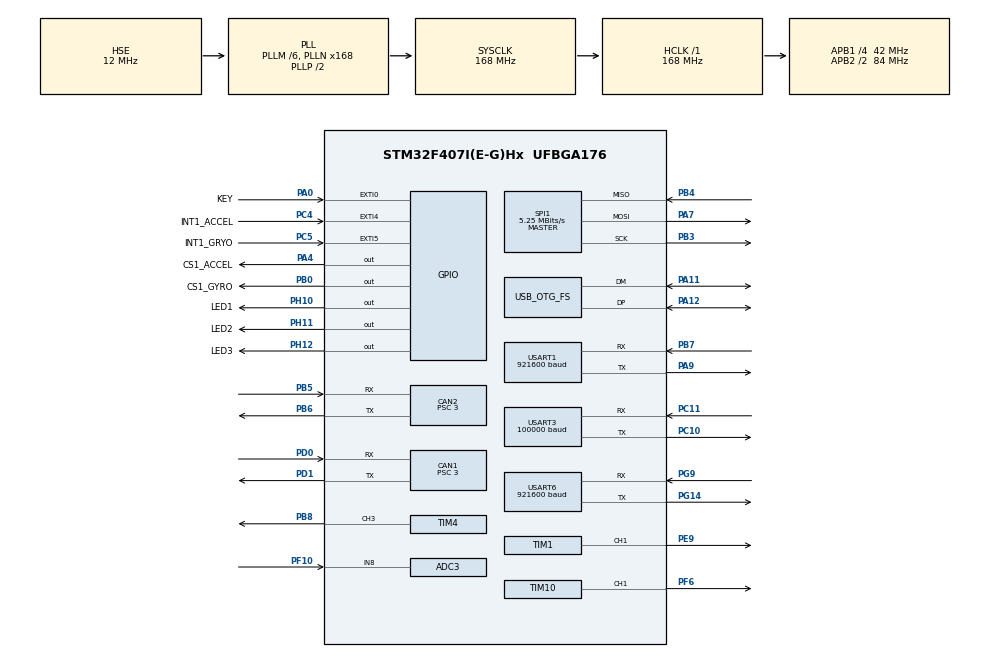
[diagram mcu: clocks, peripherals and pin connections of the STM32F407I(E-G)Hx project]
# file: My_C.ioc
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ADC1.Channel-0\#ChannelRegularConversion=ADC_CHANNEL_VREFINT
ADC1.ClockPrescaler=ADC_CLOCK_SYNC_PCLK_DIV4
ADC1.NbrOfConversionFlag=1
ADC1.Rank-0\#ChannelRegularConversion=1
ADC1.SamplingTime-0\#ChannelRegularConversion=ADC_SAMPLETIME_3CYCLES
ADC1.master=1
ADC3.Channel-0\#ChannelRegularConversion=ADC_CHANNEL_8
ADC3.ClockPrescaler=ADC_CLOCK_SYNC_PCLK_DIV4
ADC3.NbrOfConversionFlag=1
ADC3.Rank-0\#ChannelRegularConversion=1
ADC3.SamplingTime-0\#ChannelRegularConversion=ADC_SAMPLETIME_3CYCLES
CAN1.ABOM=ENABLE
CAN1.AWUM=ENABLE
CAN1.BS1=CAN_BS1_10TQ
CAN1.BS2=CAN_BS2_3TQ
CAN1.CalculateBaudRate=1000000
CAN1.CalculateTimeBit=1000
CAN1.CalculateTimeQuantum=71.42857142857143
CAN1.Prescaler=3
CAN1.TXFP=ENABLE
CAN2.ABOM=ENABLE
CAN2.AWUM=ENABLE
CAN2.BS1=CAN_BS1_10TQ
CAN2.BS2=CAN_BS2_3TQ
CAN2.CalculateBaudRate=1000000
CAN2.CalculateTimeBit=1000
CAN2.CalculateTimeQuantum=71.42857142857143
CAN2.Prescaler=3
CAN2.TXFP=ENABLE
Dma.Request0=SPI1_RX
Dma.Request1=SPI1_TX
Dma.Request2=USART3_RX
Dma.Request3=USART1_RX
Dma.Request4=USART1_TX
Dma.Request5=USART6_RX
Dma.Request6=USART6_TX
Dma.SPI1_RX.0.Direction=DMA_PERIPH_TO_MEMORY
Dma.SPI1_RX.0.FIFOMode=DMA_FIFOMODE_DISABLE
Dma.SPI1_RX.0.Instance=DMA2_Stream0
Dma.SPI1_RX.0.MemDataAlignment=DMA_MDATAALIGN_BYTE
Dma.SPI1_RX.0.MemInc=DMA_MINC_ENABLE
Dma.SPI1_RX.0.Mode=DMA_NORMAL
Dma.SPI1_RX.0.PeriphDataAlignment=DMA_PDATAALIGN_BYTE
Dma.SPI1_RX.0.PeriphInc=DMA_PINC_DISABLE
Dma.SPI1_RX.0.Priority=DMA_PRIORITY_VERY_HIGH
Dma.SPI1_TX.1.Direction=DMA_MEMORY_TO_PERIPH
Dma.SPI1_TX.1.FIFOMode=DMA_FIFOMODE_DISABLE
Dma.SPI1_TX.1.Instance=DMA2_Stream3
Dma.SPI1_TX.1.MemDataAlignment=DMA_MDATAALIGN_BYTE
Dma.SPI1_TX.1.MemInc=DMA_MINC_ENABLE
Dma.SPI1_TX.1.Mode=DMA_NORMAL
Dma.SPI1_TX.1.PeriphDataAlignment=DMA_PDATAALIGN_BYTE
Dma.SPI1_TX.1.PeriphInc=DMA_PINC_DISABLE
Dma.SPI1_TX.1.Priority=DMA_PRIORITY_HIGH
Dma.USART1_RX.3.Direction=DMA_PERIPH_TO_MEMORY
Dma.USART1_RX.3.FIFOMode=DMA_FIFOMODE_DISABLE
Dma.USART1_RX.3.Instance=DMA2_Stream2
Dma.USART1_RX.3.MemDataAlignment=DMA_MDATAALIGN_BYTE
Dma.USART1_RX.3.MemInc=DMA_MINC_ENABLE
Dma.USART1_RX.3.Mode=DMA_CIRCULAR
Dma.USART1_RX.3.PeriphDataAlignment=DMA_PDATAALIGN_BYTE
Dma.USART1_RX.3.PeriphInc=DMA_PINC_DISABLE
Dma.USART1_RX.3.Priority=DMA_PRIORITY_HIGH
Dma.USART1_TX.4.Direction=DMA_MEMORY_TO_PERIPH
Dma.USART1_TX.4.FIFOMode=DMA_FIFOMODE_DISABLE
Dma.USART1_TX.4.Instance=DMA2_Stream7
Dma.USART1_TX.4.MemDataAlignment=DMA_MDATAALIGN_BYTE
Dma.USART1_TX.4.MemInc=DMA_MINC_ENABLE
Dma.USART1_TX.4.Mode=DMA_NORMAL
Dma.USART1_TX.4.PeriphDataAlignment=DMA_PDATAALIGN_BYTE
Dma.USART1_TX.4.PeriphInc=DMA_PINC_DISABLE
Dma.USART1_TX.4.Priority=DMA_PRIORITY_LOW
Dma.USART3_RX.2.Direction=DMA_PERIPH_TO_MEMORY
Dma.USART3_RX.2.FIFOMode=DMA_FIFOMODE_DISABLE
Dma.USART3_RX.2.Instance=DMA1_Stream1
Dma.USART3_RX.2.MemDataAlignment=DMA_MDATAALIGN_BYTE
Dma.USART3_RX.2.MemInc=DMA_MINC_ENABLE
Dma.USART3_RX.2.Mode=DMA_CIRCULAR
Dma.USART3_RX.2.PeriphDataAlignment=DMA_PDATAALIGN_BYTE
Dma.USART3_RX.2.PeriphInc=DMA_PINC_DISABLE
Dma.USART3_RX.2.Priority=DMA_PRIORITY_HIGH
Dma.USART6_RX.5.Direction=DMA_PERIPH_TO_MEMORY
Dma.USART6_RX.5.FIFOMode=DMA_FIFOMODE_DISABLE
Dma.USART6_RX.5.Instance=DMA2_Stream1
Dma.USART6_RX.5.MemDataAlignment=DMA_MDATAALIGN_BYTE
Dma.USART6_RX.5.MemInc=DMA_MINC_ENABLE
Dma.USART6_RX.5.Mode=DMA_CIRCULAR
Dma.USART6_RX.5.PeriphDataAlignment=DMA_PDATAALIGN_BYTE
Dma.USART6_RX.5.PeriphInc=DMA_PINC_DISABLE
Dma.USART6_RX.5.Priority=DMA_PRIORITY_HIGH
Dma.USART6_TX.6.Direction=DMA_MEMORY_TO_PERIPH
Dma.USART6_TX.6.FIFOMode=DMA_FIFOMODE_DISABLE
Dma.USART6_TX.6.Instance=DMA2_Stream6
Dma.USART6_TX.6.MemDataAlignment=DMA_MDATAALIGN_BYTE
Dma.USART6_TX.6.MemInc=DMA_MINC_ENABLE
Dma.USART6_TX.6.Mode=DMA_NORMAL
Dma.USART6_TX.6.PeriphDataAlignment=DMA_PDATAALIGN_BYTE
Dma.USART6_TX.6.PeriphInc=DMA_PINC_DISABLE
Dma.USART6_TX.6.Priority=DMA_PRIORITY_LOW
FREERTOS.Tasks01=MonitorTask,3,512,StartMonitorTask,As weak,NULL,Dynamic,NULL,NULL;CommunityTask,2,512,StartCommunityTask,As weak,NULL,Dynamic,NULL,NULL;ControlTask,3,1024,StartControlTask,As weak,NULL,Dynamic,NULL,NULL;LedTask,1,128,StartLedTask,As weak,NULL,Dynamic,NULL,NULL;BMI088Task,0,256,StartBMI088Task,As weak,NULL,Dynamic,NULL,NULL
Mcu.Family=STM32F4
Mcu.Name=STM32F407I(E-G)Hx
Mcu.Package=UFBGA176
NVIC.CAN1_RX0_IRQn=true\:5\:0\:false\:false\:true\:true\:true\:true\:true
NVIC.CAN2_RX0_IRQn=true\:5\:0\:false\:false\:true\:true\:true\:true\:true
NVIC.DMA1_Stream1_IRQn=true\:5\:0\:false\:false\:true\:true\:false\:true\:true
NVIC.DMA2_Stream0_IRQn=true\:5\:0\:false\:false\:true\:true\:false\:true\:true
NVIC.DMA2_Stream1_IRQn=true\:5\:0\:false\:false\:true\:true\:false\:true\:true
NVIC.DMA2_Stream2_IRQn=true\:5\:0\:false\:false\:true\:true\:false\:true\:true
NVIC.DMA2_Stream3_IRQn=true\:5\:0\:false\:false\:true\:true\:false\:true\:true
NVIC.DMA2_Stream6_IRQn=true\:5\:0\:false\:false\:true\:true\:false\:true\:true
NVIC.DMA2_Stream7_IRQn=true\:5\:0\:false\:false\:true\:true\:false\:true\:true
NVIC.EXTI0_IRQn=true\:5\:0\:false\:false\:true\:true\:true\:true\:true
NVIC.EXTI4_IRQn=true\:5\:0\:false\:false\:true\:true\:true\:true\:true
NVIC.EXTI9_5_IRQn=true\:5\:0\:false\:false\:true\:true\:true\:true\:true
NVIC.OTG_FS_IRQn=true\:5\:0\:false\:false\:true\:true\:false\:true\:true
NVIC.PriorityGroup=NVIC_PRIORITYGROUP_4
NVIC.TIM2_IRQn=true\:15\:0\:false\:false\:true\:false\:false\:true\:true
NVIC.TIM4_IRQn=true\:5\:0\:false\:false\:true\:true\:true\:true\:true
NVIC.TimeBase=TIM2_IRQn
NVIC.TimeBaseIP=TIM2
NVIC.USART1_IRQn=true\:5\:0\:false\:false\:true\:true\:true\:true\:true
NVIC.USART3_IRQn=true\:5\:0\:false\:false\:true\:true\:true\:true\:true
NVIC.USART6_IRQn=true\:5\:0\:false\:false\:true\:true\:true\:true\:true
PA0-WKUP.GPIO_Label=KEY
PA0-WKUP.GPIO_ModeDefaultEXTI=GPIO_MODE_IT_FALLING
PA0-WKUP.GPIO_PuPd=GPIO_PULLUP
PA0-WKUP.Signal=GPXTI0
PA11.Mode=Device_Only
PA11.Signal=USB_OTG_FS_DM
PA12.Mode=Device_Only
PA12.Signal=USB_OTG_FS_DP
PA13.Mode=Serial_Wire
PA13.Signal=SYS_JTMS-SWDIO
PA14.Mode=Serial_Wire
PA14.Signal=SYS_JTCK-SWCLK
PA4.GPIO_Label=CS1_ACCEL
PA4.GPIO_PuPd=GPIO_PULLUP
PA4.GPIO_Speed=GPIO_SPEED_FREQ_HIGH
PA4.PinState=GPIO_PIN_SET
PA4.Signal=GPIO_Output
PA7.Mode=Full_Duplex_Master
PA7.Signal=SPI1_MOSI
PA9.Mode=Asynchronous
PA9.Signal=USART1_TX
PB0.GPIO_Label=CS1_GYRO
PB0.GPIO_PuPd=GPIO_PULLUP
PB0.GPIO_Speed=GPIO_SPEED_FREQ_HIGH
PB0.PinState=GPIO_PIN_SET
PB0.Signal=GPIO_Output
PB3.Mode=Full_Duplex_Master
PB3.Signal=SPI1_SCK
PB4.Mode=Full_Duplex_Master
PB4.Signal=SPI1_MISO
PB5.Mode=CAN_Activate
PB5.Signal=CAN2_RX
PB6.Mode=CAN_Activate
PB6.Signal=CAN2_TX
PB7.Mode=Asynchronous
PB7.Signal=USART1_RX
PB8.Signal=S_TIM4_CH3
PC10.Mode=Asynchronous
PC10.Signal=USART3_TX
PC11.Mode=Asynchronous
PC11.Signal=USART3_RX
PC4.GPIO_Label=INT1_ACCEL
PC4.GPIO_ModeDefaultEXTI=GPIO_MODE_IT_FALLING
PC4.GPIO_PuPd=GPIO_PULLUP
PC4.Signal=GPXTI4
PC5.GPIO_Label=INT1_GRYO
PC5.GPIO_ModeDefaultEXTI=GPIO_MODE_IT_FALLING
PC5.GPIO_PuPd=GPIO_PULLUP
PC5.Signal=GPXTI5
PD0.Mode=CAN_Activate
PD0.Signal=CAN1_RX
PD1.Mode=CAN_Activate
PD1.Signal=CAN1_TX
PE9.Signal=S_TIM1_CH1
PF10.Mode=IN8
PF10.Signal=ADC3_IN8
PF6.GPIO_PuPd=GPIO_PULLUP
PF6.GPIO_Speed=GPIO_SPEED_FREQ_HIGH
PF6.Signal=S_TIM10_CH1
PG14.Mode=Asynchronous
PG14.Signal=USART6_TX
PG9.Mode=Asynchronous
PG9.Signal=USART6_RX
PH0-OSC_IN.Mode=HSE-External-Oscillator
PH0-OSC_IN.Signal=RCC_OSC_IN
PH1-OSC_OUT.Mode=HSE-External-Oscillator
PH1-OSC_OUT.Signal=RCC_OSC_OUT
PH10.GPIO_Label=LED1
PH10.Signal=GPIO_Output
PH11.GPIO_Label=LED2
PH11.Signal=GPIO_Output
PH12.GPIO_Label=LED3
PH12.Signal=GPIO_Output
ProjectManager.HeapSize=0x200
ProjectManager.StackSize=0x400
ProjectManager.TargetToolchain=MDK-ARM V5.32
RCC.48MHZClocksFreq_Value=48000000
RCC.AHBFreq_Value=168000000
RCC.APB1CLKDivider=RCC_HCLK_DIV4
RCC.APB1Freq_Value=42000000
RCC.APB1TimFreq_Value=84000000
RCC.APB2CLKDivider=RCC_HCLK_DIV2
RCC.APB2Freq_Value=84000000
RCC.APB2TimFreq_Value=168000000
RCC.CortexFreq_Value=168000000
RCC.HCLKFreq_Value=168000000
RCC.HSE_VALUE=12000000
RCC.HSI_VALUE=16000000
RCC.LSE_VALUE=32768
RCC.PLLM=6
RCC.PLLN=168
RCC.PLLQ=7
RCC.SYSCLKFreq_VALUE=168000000
RCC.SYSCLKSource=RCC_SYSCLKSOURCE_PLLCLK
RCC.VCOOutputFreq_Value=336000000
SH.S_TIM10_CH1.0=TIM10_CH1,PWM Generation1 CH1
SH.S_TIM1_CH1.0=TIM1_CH1,PWM Generation1 CH1
SH.S_TIM4_CH3.0=TIM4_CH3,PWM Generation3 CH3
SPI1.BaudRatePrescaler=SPI_BAUDRATEPRESCALER_16
SPI1.CLKPhase=SPI_PHASE_2EDGE
SPI1.CLKPolarity=SPI_POLARITY_HIGH
SPI1.CalculateBaudRate=5.25 MBits/s
SPI1.Direction=SPI_DIRECTION_2LINES
SPI1.Mode=SPI_MODE_MASTER
SPI1.VirtualType=VM_MASTER
TIM1.Channel-PWM\ Generation1\ CH1=TIM_CHANNEL_1
TIM1.Period=19999
TIM1.Prescaler=167
TIM10.Channel=TIM_CHANNEL_1
TIM10.Period=4999
TIM4.AutoReloadPreload=TIM_AUTORELOAD_PRELOAD_ENABLE
TIM4.Channel-PWM\ Generation3\ CH3=TIM_CHANNEL_3
TIM4.Period=499
TIM4.Prescaler=83
USART1.BaudRate=921600
USART1.VirtualMode=VM_ASYNC
USART3.BaudRate=100000
USART3.Parity=PARITY_EVEN
USART3.VirtualMode=VM_ASYNC
USART6.BaudRate=921600
USART6.VirtualMode=VM_ASYNC
USB_DEVICE.APP_RX_DATA_SIZE-CDC_FS=128
USB_DEVICE.APP_TX_DATA_SIZE-CDC_FS=128
USB_DEVICE.CLASS_NAME_FS=CDC
USB_DEVICE.VirtualMode-CDC_FS=Cdc
USB_DEVICE.VirtualModeFS=Cdc_FS
USB_OTG_FS.VirtualMode=Device_Only
VP_ADC1_TempSens_Input.Mode=IN-TempSens
VP_ADC1_Vref_Input.Mode=IN-Vrefint
VP_FREERTOS_VS_CMSIS_V1.Mode=CMSIS_V1
VP_IWDG_VS_IWDG.Mode=IWDG_Activate
VP_SYS_VS_tim2.Mode=TIM2
VP_TIM10_VS_ClockSourceINT.Mode=Enable_Timer
VP_TIM4_VS_ClockSourceINT.Mode=Internal
VP_USB_DEVICE_VS_USB_DEVICE_CDC_FS.Mode=CDC_FS
board=custom

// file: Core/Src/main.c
/* USER CODE BEGIN Header */
/**
  ******************************************************************************
  * @file           : main.c
  * @brief          : Main program body
  ******************************************************************************
  * @attention
  *
  * Copyright (c) 2024 STMicroelectronics.
  * All rights reserved.
  *
  * This software is licensed under terms that can be found in the LICENSE file
  * in the root directory of this software component.
  * If no LICENSE file comes with this software, it is provided AS-IS.
  *
  ******************************************************************************
  */
/* USER CODE END Header */
#include "main.h"
#include "cmsis_os.h"
#include "adc.h"
#include "can.h"
#include "dma.h"
#include "spi.h"
#include "tim.h"
#include "usart.h"
#include "usb_device.h"
#include "gpio.h"

/* USER CODE BEGIN Includes */
#include "iwdg.h"
#include "driver.h"
#include "device.h"
#include "rc_protocol.h"
/* USER CODE END Includes */

void SystemClock_Config(void);
void MX_FREERTOS_Init(void);

int main(void)
{

  /* MCU Configuration--------------------------------------------------------*/

  /* Reset of all peripherals, In itializes the Flash interface and the Systick. */
  HAL_Init();

  /* Configure the system clock */
  SystemClock_Config();

  /* Initialize all configured peripherals */
  MX_GPIO_Init();
  MX_DMA_Init();
  MX_SPI1_Init();
  MX_TIM10_Init();
  MX_CAN1_Init();
  MX_CAN2_Init();
  MX_USART3_UART_Init();
  MX_USART1_UART_Init();
  MX_USART6_UART_Init();
  MX_TIM4_Init();
  MX_ADC1_Init();
  MX_ADC3_Init();
  MX_TIM1_Init();
  /* USER CODE BEGIN 2 */

  CAN_Filter_Init();

   MX_IWDG_Init();
	 MX_USB_DEVICE_Init();
	DEVICE_Init();
	DRIVER_Init();

  /* USER CODE END 2 */

  /* Call init function for freertos objects (in cmsis_os2.c) */
  MX_FREERTOS_Init();

  /* Start scheduler */
  osKernelStart();

  /* We should never get here as control is now taken by the scheduler */

  /* Infinite loop */
  while (1)
  {

  }
}

void SystemClock_Config(void)
{
  RCC_OscInitTypeDef RCC_OscInitStruct = {0};
  RCC_ClkInitTypeDef RCC_ClkInitStruct = {0};

  /** Configure the main internal regulator output voltage
  */
  __HAL_RCC_PWR_CLK_ENABLE();
  __HAL_PWR_VOLTAGESCALING_CONFIG(PWR_REGULATOR_VOLTAGE_SCALE1);

  /** Initializes the RCC Oscillators according to the specified parameters
  * in the RCC_OscInitTypeDef structure.
  */
  RCC_OscInitStruct.OscillatorType = RCC_OSCILLATORTYPE_LSI|RCC_OSCILLATORTYPE_HSE;
  RCC_OscInitStruct.HSEState = RCC_HSE_ON;
  RCC_OscInitStruct.LSIState = RCC_LSI_ON;
  RCC_OscInitStruct.PLL.PLLState = RCC_PLL_ON;
  RCC_OscInitStruct.PLL.PLLSource = RCC_PLLSOURCE_HSE;
  RCC_OscInitStruct.PLL.PLLM = 6;
  RCC_OscInitStruct.PLL.PLLN = 168;
  RCC_OscInitStruct.PLL.PLLP = RCC_PLLP_DIV2;
  RCC_OscInitStruct.PLL.PLLQ = 7;
  if (HAL_RCC_OscConfig(&RCC_OscInitStruct) != HAL_OK)
  {
    Error_Handler();
  }

  /** Initializes the CPU, AHB and APB buses clocks
  */
  RCC_ClkInitStruct.ClockType = RCC_CLOCKTYPE_HCLK|RCC_CLOCKTYPE_SYSCLK
                              |RCC_CLOCKTYPE_PCLK1|RCC_CLOCKTYPE_PCLK2;
  RCC_ClkInitStruct.SYSCLKSource = RCC_SYSCLKSOURCE_PLLCLK;
  RCC_ClkInitStruct.AHBCLKDivider = RCC_SYSCLK_DIV1;
  RCC_ClkInitStruct.APB1CLKDivider = RCC_HCLK_DIV4;
  RCC_ClkInitStruct.APB2CLKDivider = RCC_HCLK_DIV2;

  if (HAL_RCC_ClockConfig(&RCC_ClkInitStruct, FLASH_LATENCY_5) != HAL_OK)
  {
    Error_Handler();
  }
}

void HAL_TIM_PeriodElapsedCallback(TIM_HandleTypeDef *htim)
{
  /* USER CODE BEGIN Callback 0 */
	static uint16_t i = 0;
	if (htim->Instance == TIM4)
	{
		if (i++ == 60000)
		{
			i = 0;
		}

		if ((imu_sensor.work_state.err_code == IMU_NONE_ERR) || \
				(imu_sensor.work_state.err_code == IMU_DATA_CALI))
		{
			imu_sensor.update(&imu_sensor);

		}

	}
  /* USER CODE END Callback 0 */
  if (htim->Instance == TIM2)
  {
    HAL_IncTick();
  }
}

void Error_Handler(void)
{
  __disable_irq();
  while (1)
  {
  }
}

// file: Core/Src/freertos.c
/* USER CODE BEGIN Header */
/**
  ******************************************************************************
  * File Name          : freertos.c
  * Description        : Code for freertos applications
  ******************************************************************************
  * @attention
  *
  * Copyright (c) 2024 STMicroelectronics.
  * All rights reserved.
  *
  * This software is licensed under terms that can be found in the LICENSE file
  * in the root directory of this software component.
  * If no LICENSE file comes with this software, it is provided AS-IS.
  *
  ******************************************************************************
  */
/* USER CODE END Header */

#include "FreeRTOS.h"
#include "task.h"
#include "main.h"
#include "cmsis_os.h"

osThreadId MonitorTaskHandle;
osThreadId CommunityTaskHandle;
osThreadId ControlTaskHandle;
osThreadId LedTaskHandle;
osThreadId BMI088TaskHandle;

void StartMonitorTask(void const * argument);
void StartCommunityTask(void const * argument);
void StartControlTask(void const * argument);
void StartLedTask(void const * argument);
void StartBMI088Task(void const * argument);

extern void MX_USB_DEVICE_Init(void);
void MX_FREERTOS_Init(void); /* (MISRA C 2004 rule 8.1) */

/* GetIdleTaskMemory prototype (linked to static allocation support) */
void vApplicationGetIdleTaskMemory( StaticTask_t **ppxIdleTaskTCBBuffer, StackType_t **ppxIdleTaskStackBuffer, uint32_t *pulIdleTaskStackSize );

/* USER CODE BEGIN GET_IDLE_TASK_MEMORY */
static StaticTask_t xIdleTaskTCBBuffer;
static StackType_t xIdleStack[configMINIMAL_STACK_SIZE];

void vApplicationGetIdleTaskMemory( StaticTask_t **ppxIdleTaskTCBBuffer, StackType_t **ppxIdleTaskStackBuffer, uint32_t *pulIdleTaskStackSize )
{
  *ppxIdleTaskTCBBuffer = &xIdleTaskTCBBuffer;
  *ppxIdleTaskStackBuffer = &xIdleStack[0];
  *pulIdleTaskStackSize = configMINIMAL_STACK_SIZE;
  /* place for user code */
}
/* USER CODE END GET_IDLE_TASK_MEMORY */

void MX_FREERTOS_Init(void) {

  /* Create the thread(s) */
  /* definition and creation of MonitorTask */
  osThreadDef(MonitorTask, StartMonitorTask, osPriorityRealtime, 0, 512);
  MonitorTaskHandle = osThreadCreate(osThread(MonitorTask), NULL);

  /* definition and creation of CommunityTask */
  osThreadDef(CommunityTask, StartCommunityTask, osPriorityHigh, 0, 512);
  CommunityTaskHandle = osThreadCreate(osThread(CommunityTask), NULL);

  /* definition and creation of ControlTask */
  osThreadDef(ControlTask, StartControlTask, osPriorityRealtime, 0, 1024);
  ControlTaskHandle = osThreadCreate(osThread(ControlTask), NULL);

  /* definition and creation of LedTask */
  osThreadDef(LedTask, StartLedTask, osPriorityAboveNormal, 0, 128);
  LedTaskHandle = osThreadCreate(osThread(LedTask), NULL);

  /* definition and creation of BMI088Task */
  osThreadDef(BMI088Task, StartBMI088Task, osPriorityNormal, 0, 256);
  BMI088TaskHandle = osThreadCreate(osThread(BMI088Task), NULL);

}

__weak void StartMonitorTask(void const * argument)
{
  /* init code for USB_DEVICE */
  MX_USB_DEVICE_Init();
  for(;;)
  {
    osDelay(1);
  }
}

__weak void StartCommunityTask(void const * argument)
{
  for(;;)
  {
    osDelay(1);
  }
}

__weak void StartControlTask(void const * argument)
{
  for(;;)
  {
    osDelay(1);
  }
}

__weak void StartLedTask(void const * argument)
{
  for(;;)
  {
    osDelay(1);
  }
}

__weak void StartBMI088Task(void const * argument)
{
  for(;;)
  {
    osDelay(1);
  }
}
